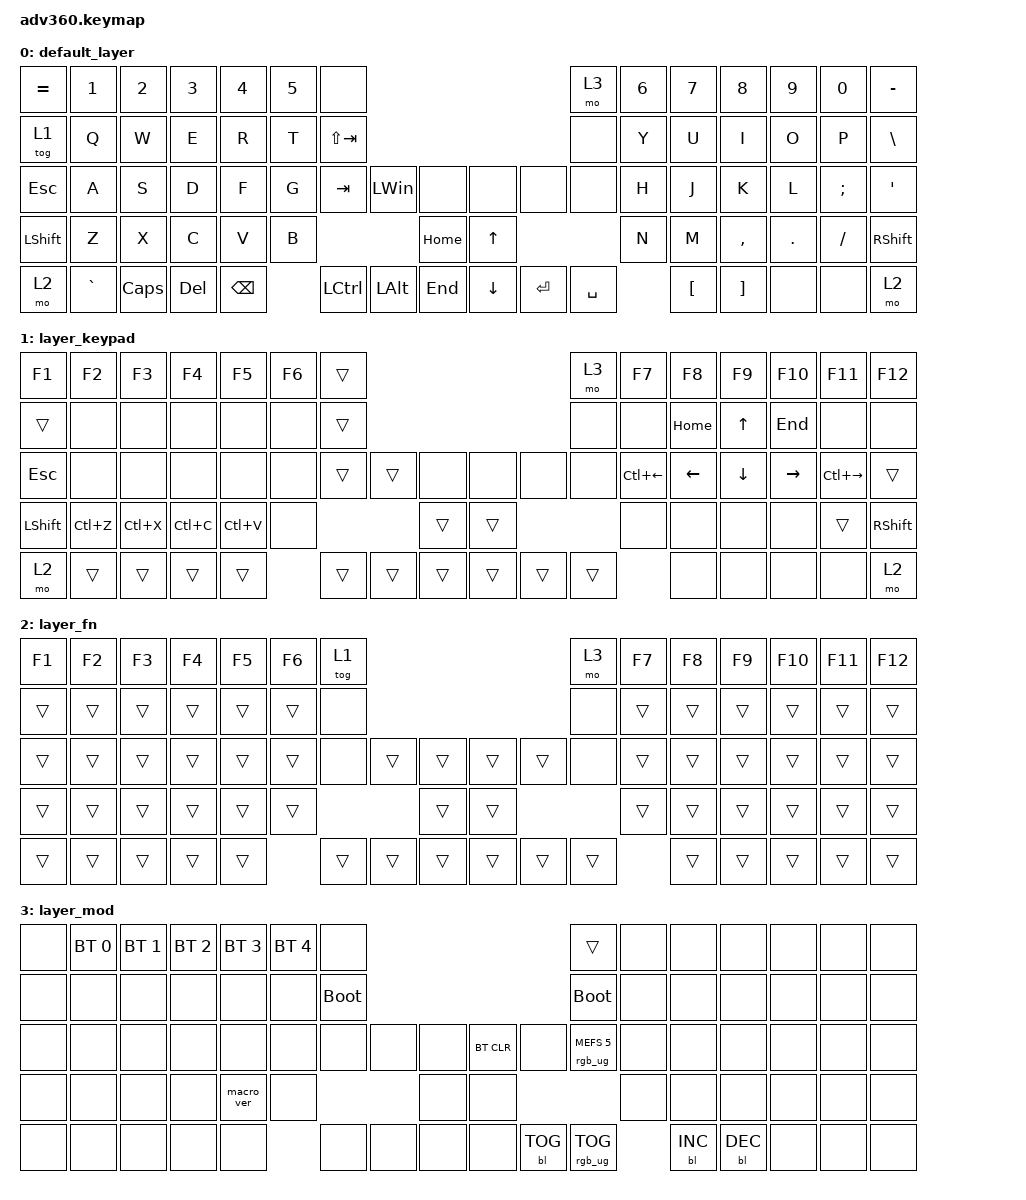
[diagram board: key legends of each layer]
/*
 * Copyright (c) 2020 The ZMK Contributors
 *
 * SPDX-License-Identifier: MIT
 */
/* THIS FILE WAS GENERATED!
 *
 * This file was generated automatically. You may or may not want to
 * edit it directly.
 */

#include <behaviors.dtsi>
#include <dt-bindings/zmk/backlight.h>
#include <dt-bindings/zmk/bt.h>
#include <dt-bindings/zmk/keys.h>
#include <dt-bindings/zmk/rgb.h>

/ {
    behaviors {
        #include "macros.dtsi"
    #include "version.dtsi"

        hm: homerow_mods {
            compatible = "zmk,behavior-hold-tap";
            label = "HOMEROW_MODS";
            #binding-cells = <2>;
            tapping-term-ms = <200>;
            quick_tap_ms = <175>;
            flavor = "tap-preferred";
            bindings = <&kp>, <&kp>;
        };

        rpi: rpi {
            compatible = "zmk,behavior-hold-tap";
            label = "RPI";
            bindings = <&kp>, <&kp>;

            #binding-cells = <2>;
            tapping-term-ms = <200>;
            quick-tap-ms = <200>;
            require-prior-idle-ms = <125>;
            flavor = "tap-preferred";
        };
    };

    keymap {
        compatible = "zmk,keymap";

        default_layer {
            bindings = <
&kp EQUAL  &kp N1     &kp N2    &kp N3      &kp N4         &kp N5  &none                                                                    &mo 3      &kp N6  &kp N7            &kp N8             &kp N9   &kp N0    &kp MINUS
&tog 1     &kp Q      &kp W     &kp E       &kp R          &kp T   &kp LS(TAB)                                                              &none      &kp Y   &kp U             &kp I              &kp O    &kp P     &kp BSLH
&kp ESC    &kp A      &kp S     &kp D       &kp F          &kp G   &kp TAB           &kp LEFT_WIN  &none         &none           &none      &none      &kp H   &kp J             &kp K              &kp L    &kp SEMI  &kp SQT
&kp LSHFT  &kp Z      &kp X     &kp C       &kp V          &kp B                                   &kp HOME      &kp UP_ARROW                          &kp N   &kp M             &kp COMMA          &kp DOT  &kp FSLH  &kp RSHFT
&mo 2      &kp GRAVE  &kp CAPS  &kp DELETE  &kp BACKSPACE          &kp LEFT_CONTROL  &kp LEFT_ALT  &kp END       &kp DOWN_ARROW  &kp ENTER  &kp SPACE          &kp LEFT_BRACKET  &kp RIGHT_BRACKET  &none    &none     &mo 2
            >;
        };

        layer_keypad {
            bindings = <
&kp F1     &kp F2     &kp F3     &kp F4     &kp F5     &kp F6  &trans                                      &mo 3   &kp F7              &kp F8    &kp F9    &kp F10    &kp F11              &kp F12
&trans     &none      &none      &none      &none      &none   &trans                                      &none   &none               &kp HOME  &kp UP    &kp END    &none                &none
&kp ESC    &none      &none      &none      &none      &none   &trans  &trans  &none       &none   &none   &none   &kp LC(LEFT_ARROW)  &kp LEFT  &kp DOWN  &kp RIGHT  &kp LC(RIGHT_ARROW)  &trans
&kp LSHFT  &kp LC(Z)  &kp LC(X)  &kp LC(C)  &kp LC(V)  &none                   &trans      &trans                  &none               &none     &none     &none      &trans               &kp RSHFT
&mo 2      &trans     &trans     &trans     &trans             &trans  &trans  &trans      &trans  &trans  &trans                      &none     &none     &none      &none                &mo 2
            >;
        };

        layer_fn {
            bindings = <
&kp F1  &kp F2  &kp F3  &kp F4  &kp F5  &kp F6  &tog 1                                      &mo 3   &kp F7  &kp F8  &kp F9  &kp F10  &kp F11  &kp F12
&trans  &trans  &trans  &trans  &trans  &trans  &none                                       &none   &trans  &trans  &trans  &trans   &trans   &trans
&trans  &trans  &trans  &trans  &trans  &trans  &none   &trans  &trans      &trans  &trans  &none   &trans  &trans  &trans  &trans   &trans   &trans
&trans  &trans  &trans  &trans  &trans  &trans                  &trans      &trans                  &trans  &trans  &trans  &trans   &trans   &trans
&trans  &trans  &trans  &trans  &trans          &trans  &trans  &trans      &trans  &trans  &trans          &trans  &trans  &trans   &trans   &trans
            >;
        };

        layer_mod {
            bindings = <
&none  &bt BT_SEL 0  &bt BT_SEL 1  &bt BT_SEL 2  &bt BT_SEL 3  &bt BT_SEL 4  &none                                                  &trans                  &none  &none       &none       &none  &none  &none
&none  &none         &none         &none         &none         &none         &bootloader                                            &bootloader             &none  &none       &none       &none  &none  &none
&none  &none         &none         &none         &none         &none         &none        &none  &none      &bt BT_CLR  &none       &rgb_ug RGB_MEFS_CMD 5  &none  &none       &none       &none  &none  &none
&none  &none         &none         &none         &macro_ver    &none                             &none      &none                                           &none  &none       &none       &none  &none  &none
&none  &none         &none         &none         &none                       &none        &none  &none      &none       &bl BL_TOG  &rgb_ug RGB_TOG                &bl BL_INC  &bl BL_DEC  &none  &none  &none
            >;
        };
    };
};
